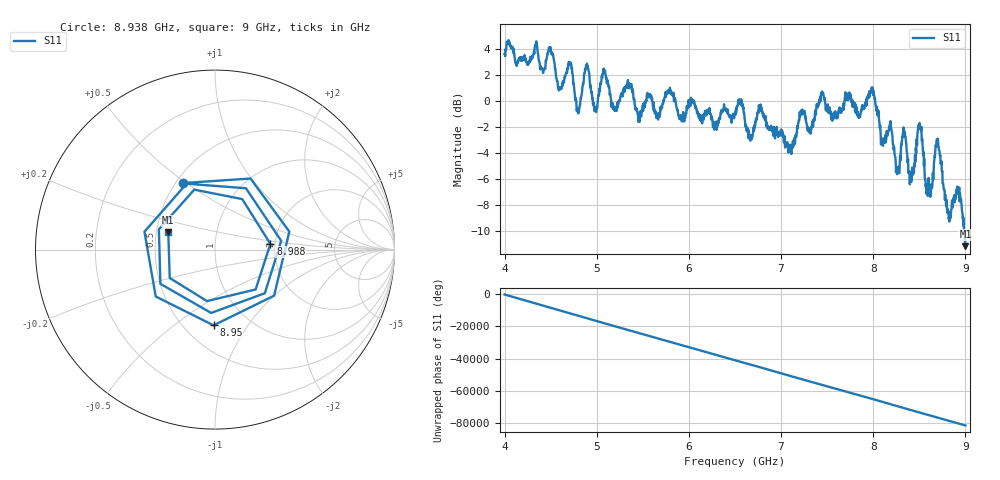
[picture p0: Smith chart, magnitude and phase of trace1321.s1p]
! Created with skrf 1.8.0 (http://scikit-rf.org).
# Hz S RI R 50.0
!freq ReS11 ImS11
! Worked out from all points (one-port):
!   1601 points, 4 GHz to 9 GHz, reference 50 ohm
!   lowest |S11| = -11.1 dB at 9 GHz (marker M1), VSWR 1.77, Z = 28.9 + j6 ohm
!   |S11| at or under -10 dB: 8.985462 GHz to 8.990573 GHz (5.111 MHz wide, 0.0569 % of centre); 8.991106 GHz to end of sweep
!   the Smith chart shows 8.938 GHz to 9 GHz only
!   S11 on the Smith chart (normalised r, x): 8.938 GHz: 0.54, +0.49; 8.95 GHz: 0.69, -0.71; 8.988 GHz: 1.89, +0.13; 9 GHz: 0.58, +0.12
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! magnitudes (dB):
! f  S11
! 4 GHz  3.6
! 4.497 GHz  4.0
! 4.625 GHz  1.1
! 4.716 GHz  2.9
! 4.803 GHz  -0.9
! 4.894 GHz  2.8
! 4.981 GHz  -0.6
! 5.078 GHz  2.3
! 5.25 GHz  0.0
! 5.875 GHz  -0.7
! 6.5 GHz  -1.0
! 7.125 GHz  -3.4
! 7.438 GHz  0.6
! 7.75 GHz  0.5
! 7.991 GHz  1.0
! 8.103 GHz  -3.3
! 8.269 GHz  -5.5
! 8.334 GHz  -2.5
! 8.375 GHz  -4.5
! 8.422 GHz  -5.1
! 8.506 GHz  -2.1
! 8.6 GHz  -5.9
! 8.697 GHz  -3.5
! 8.816 GHz  -8.5
! 8.938 GHz  -7.7
! 8.95 GHz  -7.5
! 8.988 GHz  -10.2
! 9 GHz  -11.1
